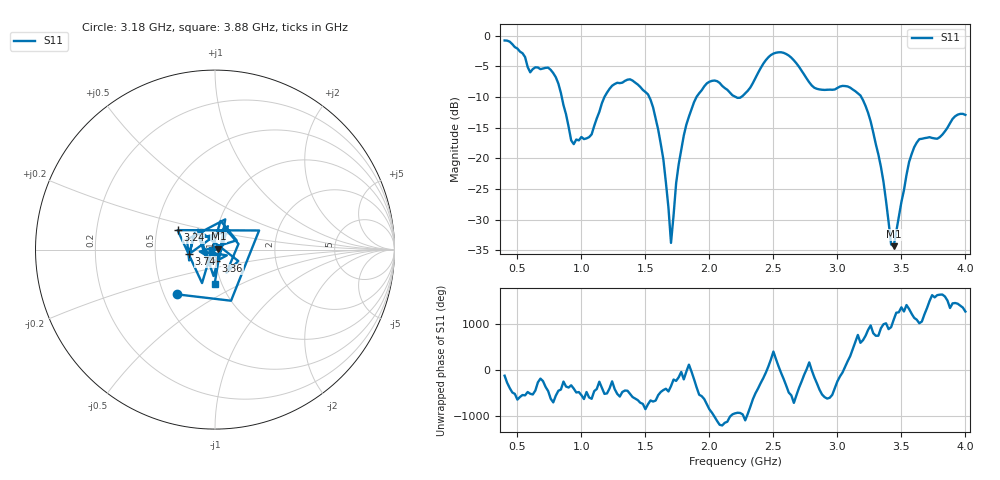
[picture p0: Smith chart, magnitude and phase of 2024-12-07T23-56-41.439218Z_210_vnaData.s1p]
!Created with skrf (http://scikit-rf.org).
# Hz S RI R 50.0
!freq ReS11 ImS11
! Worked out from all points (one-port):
!   181 points, 400 MHz to 4 GHz, reference 50 ohm
!   lowest |S11| = -34.3 dB at 3.44 GHz (marker M1), VSWR 1.04, Z = 51.9 + j0.508 ohm
!   |S11| at or under -10 dB: 846.7 MHz to 1.18 GHz (332.9 MHz wide, 32.9 % of centre); 1.53 GHz to 1.899 GHz (368.4 MHz wide, 21.5 % of centre); 3.187 GHz to end of sweep (the widest 3 of 4)
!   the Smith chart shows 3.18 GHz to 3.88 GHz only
!   S11 on the Smith chart (normalised r, x): 3.18 GHz: 0.59, -0.33; 3.24 GHz: 0.64, +0.15; 3.36 GHz: 1.00, -0.13; 3.74 GHz: 0.75, -0.04; 3.88 GHz: 0.92, -0.37
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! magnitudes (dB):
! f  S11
! 400 MHz  -0.8
! 600 MHz  -6.0
! 760 MHz  -5.5
! 860 MHz  -11.3
! 940 MHz  -17.7
! 1.08 GHz  -16.1
! 1.18 GHz  -10.0
! 1.3 GHz  -7.7
! 1.56 GHz  -11.7
! 1.64 GHz  -20.1
! 1.7 GHz  -33.8
! 1.76 GHz  -21.0
! 1.84 GHz  -13.2
! 1.96 GHz  -8.2
! 2.2 GHz  -9.9
! 2.48 GHz  -3.1
! 2.66 GHz  -4.0
! 2.82 GHz  -8.5
! 3.1 GHz  -8.5
! 3.18 GHz  -9.7
! 3.24 GHz  -12.6
! 3.36 GHz  -23.8
! 3.42 GHz  -34.1
! 3.44 GHz  -34.3
! 3.56 GHz  -20.6
! 3.74 GHz  -16.7
! 3.88 GHz  -14.3
! 4 GHz  -12.9
